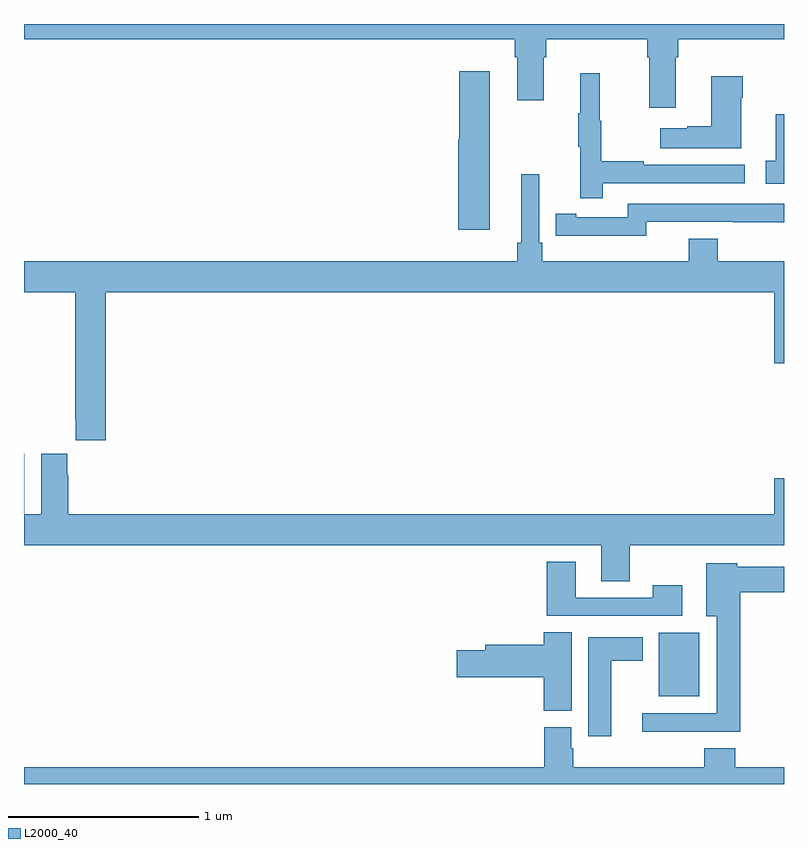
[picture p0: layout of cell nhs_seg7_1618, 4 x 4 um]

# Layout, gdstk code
import gdstk
lib = gdstk.Library(unit=1e-6, precision=1e-09)
def R(c, l, rs):  # rectangles x0, y0, x1, y1
    for r in rs: c.add(gdstk.rectangle(r[:2], r[2:], *l))
def P(c, l, *ps):  # polygons
    for p in ps: c.add(gdstk.Polygon(p, *l))
L2000_40 = (2000, 40)

nhs_seg7_1618 = lib.new_cell('nhs_seg7_1618')
R(nhs_seg7_1618, L2000_40, [(224.342,1026.461,224.554,1026.796)])
P(nhs_seg7_1618, L2000_40, [(224.431,1029.824),(224.444,1029.824),(224.444,1029.92),(225,1029.92),(225,1030),(221,1030),(221,1029.92),(223.583,1029.92),(223.583,1029.824),(223.595,1029.824),(223.595,1029.6),(223.735,1029.6),(223.735,1029.824),(223.748,1029.824),(223.748,1029.92),(224.279,1029.92),(224.279,1029.824),(224.291,1029.824),(224.291,1029.558),(224.431,1029.558)],
  [(223.45,1029.751),(223.292,1029.751),(223.292,1029.393),(223.286,1029.393),(223.286,1028.916),(223.45,1028.916)],
  [(224.045,1029.162),(224.794,1029.162),(224.794,1029.258),(224.261,1029.258),(224.261,1029.278),(224.038,1029.278),(224.038,1029.492),(224.03,1029.492),(224.03,1029.742),(223.928,1029.742),(223.928,1029.529),(223.917,1029.529),(223.917,1029.355),(223.928,1029.355),(223.928,1029.084),(224.045,1029.084)],
  [(224.776,1029.611),(224.784,1029.611),(224.784,1029.724),(224.618,1029.724),(224.618,1029.461),(224.492,1029.461),(224.492,1029.451),(224.349,1029.451),(224.349,1029.347),(224.776,1029.347)],
  [(225,1029.526),(224.957,1029.526),(224.957,1029.279),(224.904,1029.279),(224.904,1029.159),(225,1029.159)],
  [(221.429,1028.588),(224.948,1028.588),(224.948,1028.214),(225,1028.214),(225,1028.752),(224.651,1028.752),(224.651,1028.869),(224.498,1028.869),(224.498,1028.752),(223.727,1028.752),(223.727,1028.848),(223.713,1028.848),(223.713,1029.208),(223.616,1029.208),(223.616,1028.848),(223.597,1028.848),(223.597,1028.752),(221,1028.752),(221,1028.588),(221.269,1028.588),(221.269,1027.921),(221.273,1027.921),(221.273,1027.809),(221.429,1027.809)],
  [(224.274,1028.958),(224.734,1028.958),(224.734,1028.957),(225,1028.957),(225,1029.054),(224.178,1029.054),(224.178,1028.982),(223.906,1028.982),(223.906,1029.002),(223.798,1029.002),(223.798,1028.886),(223.906,1028.886),(223.906,1028.885),(224.274,1028.885)],
  [(224.187,1027.256),(225,1027.256),(225,1027.609),(224.948,1027.609),(224.948,1027.42),(221.234,1027.42),(221.234,1027.625),(221.227,1027.625),(221.227,1027.738),(221.09,1027.738),(221.09,1027.42),(221.002,1027.42),(221.002,1027.738),(221,1027.738),(221,1027.256),(224.039,1027.256),(224.039,1027.066),(224.187,1027.066)],
  [(224.464,1027.045),(224.308,1027.045),(224.308,1026.981),(223.903,1026.981),(223.903,1027.171),(223.751,1027.171),(223.751,1026.885),(224.464,1026.885)],
  [(224.771,1027.01),(225,1027.01),(225,1027.144),(224.754,1027.144),(224.754,1027.162),(224.591,1027.162),(224.591,1026.884),(224.645,1026.884),(224.645,1026.372),(224.253,1026.372),(224.253,1026.275),(224.771,1026.275)],
  [(223.882,1026.8),(223.736,1026.8),(223.736,1026.734),(223.427,1026.734),(223.427,1026.704),(223.278,1026.704),(223.278,1026.562),(223.736,1026.562),(223.736,1026.385),(223.882,1026.385)],
  [(224.092,1026.65),(224.257,1026.65),(224.257,1026.772),(223.97,1026.772),(223.97,1026.252),(224.092,1026.252)],
  [(225,1026.088),(224.744,1026.088),(224.744,1026.187),(224.579,1026.187),(224.579,1026.088),(223.892,1026.088),(223.892,1026.189),(223.879,1026.189),(223.879,1026.3),(223.739,1026.3),(223.739,1026.088),(221,1026.088),(221,1026),(225,1026)])

lib.write_gds('nhs_seg7_1618.gds')
